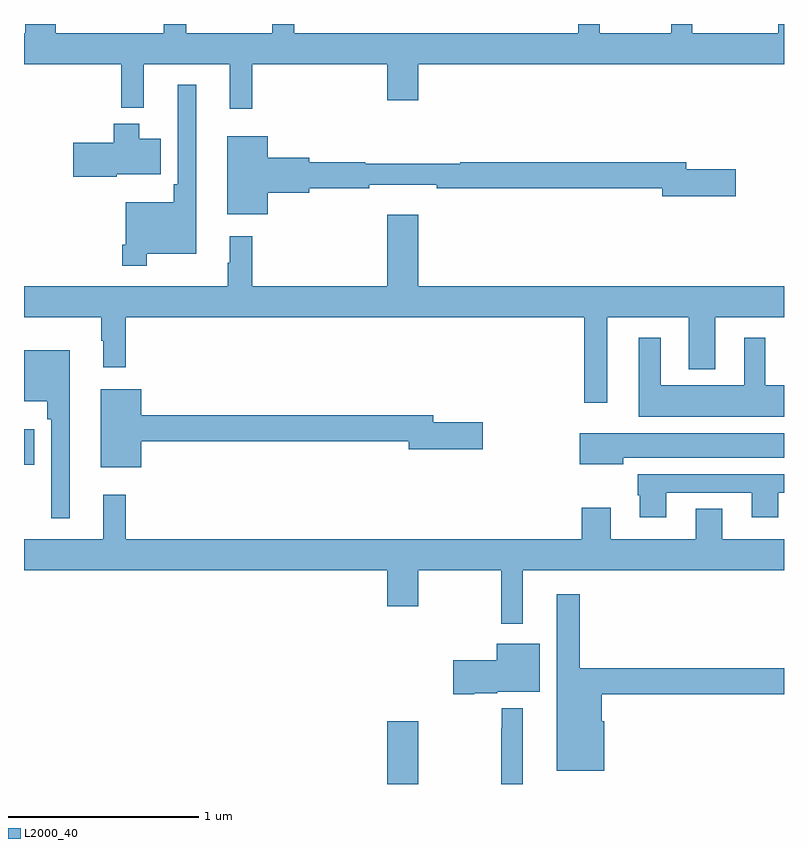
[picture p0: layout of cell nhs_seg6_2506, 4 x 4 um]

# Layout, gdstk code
import gdstk
lib = gdstk.Library(unit=1e-6, precision=1e-09)
def R(c, l, rs):  # rectangles x0, y0, x1, y1
    for r in rs: c.add(gdstk.rectangle(r[:2], r[2:], *l))
def P(c, l, *ps):  # polygons
    for p in ps: c.add(gdstk.Polygon(p, *l))
L2000_40 = (2000, 40)

nhs_seg6_2506 = lib.new_cell('nhs_seg6_2506')
R(nhs_seg6_2506, L2000_40, [(260.912,991.5,261.076,991.831), (259,993.179,259.054,993.367)])
P(nhs_seg6_2506, L2000_40, [(260.201,995.288),(260.912,995.288),(260.912,995.1),(261.076,995.1),(261.076,995.288),(263,995.288),(263,995.5),(262.97,995.5),(262.97,995.452),(262.517,995.452),(262.517,995.5),(262.407,995.5),(262.407,995.452),(262.031,995.452),(262.031,995.5),(261.917,995.5),(261.917,995.452),(260.423,995.452),(260.423,995.5),(260.306,995.5),(260.306,995.452),(259.853,995.452),(259.853,995.5),(259.735,995.5),(259.735,995.452),(259.166,995.452),(259.166,995.5),(259.006,995.5),(259.006,995.452),(259,995.452),(259,995.288),(259.513,995.288),(259.513,995.06),(259.631,995.06),(259.631,995.288),(260.084,995.288),(260.084,995.055),(260.201,995.055)],
  [(259.645,994.292),(259.906,994.292),(259.906,995.179),(259.809,995.179),(259.809,994.657),(259.789,994.657),(259.789,994.561),(259.536,994.561),(259.536,994.339),(259.516,994.339),(259.516,994.227),(259.645,994.227)],
  [(259.488,994.709),(259.72,994.709),(259.72,994.897),(259.606,994.897),(259.606,994.975),(259.472,994.975),(259.472,994.875),(259.26,994.875),(259.26,994.697),(259.488,994.697)],
  [(260.284,994.613),(260.5,994.613),(260.5,994.636),(260.816,994.636),(260.816,994.655),(261.172,994.655),(261.172,994.636),(262.358,994.636),(262.358,994.594),(262.747,994.594),(262.747,994.736),(262.486,994.736),(262.486,994.772),(261.296,994.772),(261.296,994.765),(260.796,994.765),(260.796,994.772),(260.5,994.772),(260.5,994.796),(260.284,994.796),(260.284,994.909),(260.069,994.909),(260.069,994.499),(260.284,994.499)],
  [(262.069,993.956),(262.499,993.956),(262.499,993.683),(262.639,993.683),(262.639,993.956),(263,993.956),(263,994.12),(261.076,994.12),(261.076,994.495),(260.912,994.495),(260.912,994.12),(260.201,994.12),(260.201,994.384),(260.084,994.384),(260.084,994.244),(260.073,994.244),(260.073,994.12),(259,994.12),(259,993.956),(259.407,993.956),(259.407,993.833),(259.418,993.833),(259.418,993.693),(259.535,993.693),(259.535,993.956),(261.948,993.956),(261.948,993.507),(262.069,993.507)],
  [(263,993.598),(262.9,993.598),(262.9,993.85),(262.79,993.85),(262.79,993.598),(262.351,993.598),(262.351,993.85),(262.235,993.85),(262.235,993.434),(263,993.434)],
  [(259.24,993.784),(259,993.784),(259,993.515),(259.123,993.515),(259.123,993.419),(259.143,993.419),(259.143,992.898),(259.24,992.898)],
  [(259.618,993.304),(261.026,993.304),(261.026,993.262),(261.415,993.262),(261.415,993.404),(261.154,993.404),(261.154,993.44),(259.618,993.44),(259.618,993.577),(259.403,993.577),(259.403,993.167),(259.618,993.167)],
  [(262.153,993.218),(263,993.218),(263,993.346),(261.924,993.346),(261.924,993.182),(262.153,993.182)],
  [(262.381,993.033),(262.829,993.033),(262.829,992.904),(262.969,992.904),(262.969,993.033),(263,993.033),(263,993.129),(262.229,993.129),(262.229,993.021),(262.241,993.021),(262.241,992.904),(262.381,992.904)],
  [(261.625,992.624),(263,992.624),(263,992.788),(262.675,992.788),(262.675,992.948),(262.535,992.948),(262.535,992.788),(262.087,992.788),(262.087,992.953),(261.935,992.953),(261.935,992.788),(259.535,992.788),(259.535,993.022),(259.418,993.022),(259.418,992.788),(259,992.788),(259,992.624),(260.912,992.624),(260.912,992.436),(261.076,992.436),(261.076,992.624),(261.511,992.624),(261.511,992.343),(261.625,992.343)],
  [(262.054,991.83),(262.042,991.83),(262.042,991.972),(263,991.972),(263,992.108),(261.925,992.108),(261.925,992.5),(261.803,992.5),(261.803,991.571),(262.054,991.571)],
  [(261.37,991.978),(261.492,991.978),(261.492,991.985),(261.715,991.985),(261.715,992.239),(261.488,992.239),(261.488,992.151),(261.258,992.151),(261.258,991.973),(261.37,991.973)],
  [(261.625,991.9),(261.515,991.9),(261.515,991.793),(261.511,991.793),(261.511,991.5),(261.625,991.5)])

lib.write_gds('nhs_seg6_2506.gds')
